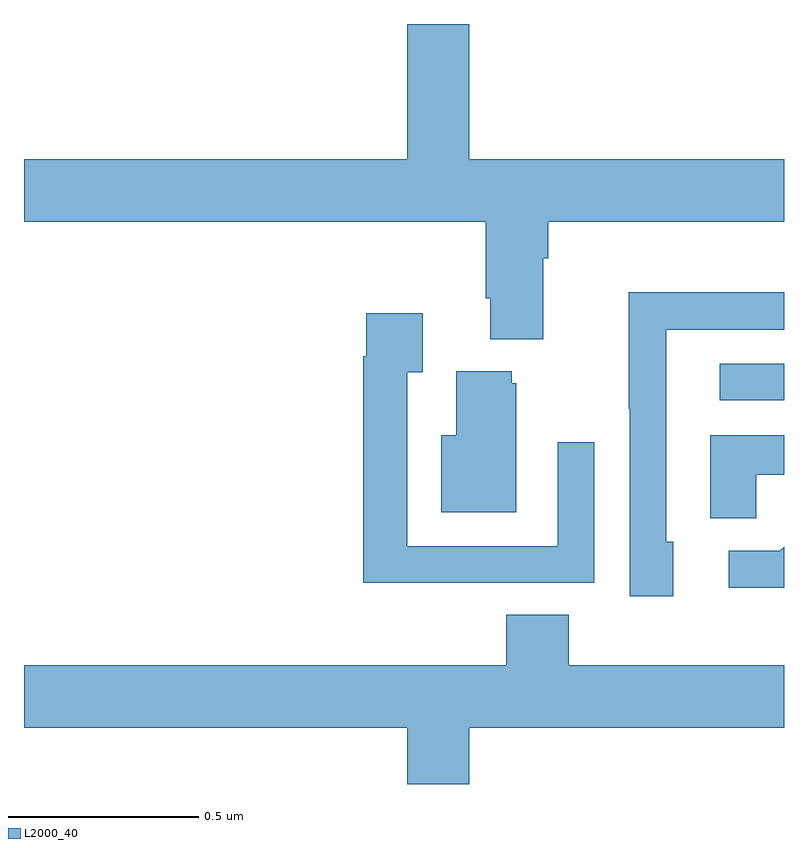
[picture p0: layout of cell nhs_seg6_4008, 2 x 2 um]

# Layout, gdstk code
import gdstk
lib = gdstk.Library(unit=1e-6, precision=1e-09)
def R(c, l, rs):  # rectangles x0, y0, x1, y1
    for r in rs: c.add(gdstk.rectangle(r[:2], r[2:], *l))
def P(c, l, *ps):  # polygons
    for p in ps: c.add(gdstk.Polygon(p, *l))
L2000_40 = (2000, 40)

nhs_seg6_4008 = lib.new_cell('nhs_seg6_4008')
R(nhs_seg6_4008, L2000_40, [(165.831,969.51,166,969.606)])
P(nhs_seg6_4008, L2000_40, [(165.172,970.5),(165.008,970.5),(165.008,970.144),(164,970.144),(164,969.98),(165.215,969.98),(165.215,969.778),(165.227,969.778),(165.227,969.671),(165.367,969.671),(165.367,969.884),(165.38,969.884),(165.38,969.98),(166,969.98),(166,970.144),(165.172,970.144)],
  [(165.709,969.138),(165.69,969.138),(165.69,969.696),(166,969.696),(166,969.794),(165.592,969.794),(165.592,969.487),(165.594,969.487),(165.594,968.994),(165.709,968.994)],
  [(165.185,969.03),(165.501,969.03),(165.501,969.4),(165.405,969.4),(165.405,969.126),(165.009,969.126),(165.009,969.583),(165.049,969.583),(165.049,969.739),(164.901,969.739),(164.901,969.626),(164.893,969.626),(164.893,969.029),(165.185,969.029)],
  [(165.295,969.555),(165.284,969.555),(165.284,969.586),(165.137,969.586),(165.137,969.418),(165.098,969.418),(165.098,969.215),(165.295,969.215)],
  [(165.927,969.314),(166,969.314),(166,969.418),(165.806,969.418),(165.806,969.199),(165.927,969.199)],
  [(166,969.125),(165.989,969.114),(165.855,969.114),(165.855,969.017),(166,969.017)],
  [(165.172,968.648),(166,968.648),(166,968.812),(165.434,968.812),(165.434,968.945),(165.269,968.945),(165.269,968.812),(164,968.812),(164,968.648),(165.008,968.648),(165.008,968.5),(165.172,968.5)])

lib.write_gds('nhs_seg6_4008.gds')
